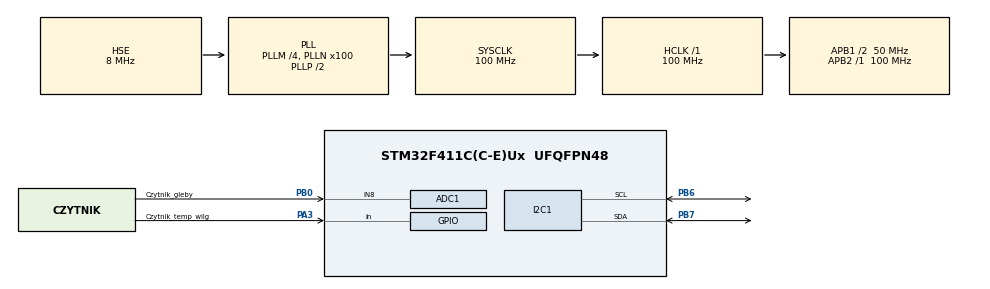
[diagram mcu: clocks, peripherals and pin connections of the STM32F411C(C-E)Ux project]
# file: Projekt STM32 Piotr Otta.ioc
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Mcu.Family=STM32F4
RCC.PLLSourceVirtual=RCC_PLLSOURCE_HSE
TIM10.Prescaler=72-1
RCC.CortexFreq_Value=100000000
ADC1.Channel-4\#ChannelRegularConversion=ADC_CHANNEL_8
PH1\ -\ OSC_OUT.Mode=HSE-External-Oscillator
PB0.GPIO_Label=Czytnik_gleby
RCC.APB1CLKDivider=RCC_HCLK_DIV2
RCC.SYSCLKSource=RCC_SYSCLKSOURCE_PLLCLK
ProjectManager.StackSize=0x400
PH0\ -\ OSC_IN.Mode=HSE-External-Oscillator
PH0\ -\ OSC_IN.Signal=RCC_OSC_IN
ProjectManager.TargetToolchain=TrueSTUDIO
RCC.HCLKFreq_Value=100000000
RCC.APB2TimFreq_Value=100000000
PB6.Signal=I2C1_SCL
VP_TIM10_VS_ClockSourceINT.Mode=Enable_Timer
PB6.Mode=I2C
RCC.LSE_VALUE=32768
RCC.AHBFreq_Value=100000000
RCC.HSE_VALUE=8000000
PH1\ -\ OSC_OUT.Signal=RCC_OSC_OUT
board=custom
RCC.VCOOutputFreq_Value=200000000
TIM10.Period=0xffff-1
ADC1.SamplingTime-4\#ChannelRegularConversion=ADC_SAMPLETIME_480CYCLES
RCC.APB2Freq_Value=100000000
SH.ADCx_IN8.0=ADC1_IN8,IN8
PB7.Signal=I2C1_SDA
Mcu.Name=STM32F411C(C-E)Ux
RCC.48MHZClocksFreq_Value=50000000
RCC.SYSCLKFreq_VALUE=100000000
Mcu.Package=UFQFPN48
ADC1.master=1
PB7.Mode=I2C
ProjectManager.HeapSize=0x200
RCC.HSI_VALUE=16000000
NVIC.PriorityGroup=NVIC_PRIORITYGROUP_4
ADC1.NbrOfConversionFlag=1
RCC.PLLM=4
RCC.PLLN=100
RCC.APB1TimFreq_Value=100000000
RCC.APB1Freq_Value=50000000
PB0.Signal=ADCx_IN8
ADC1.Rank-4\#ChannelRegularConversion=1
PA3.GPIO_Label=Czytnik_temp_wilg
PA3.Signal=GPIO_Input

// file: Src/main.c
/* USER CODE BEGIN Header */
/**
  ******************************************************************************
  * @file           : main.c
  * @brief          : Main program body
  ******************************************************************************
  * @attention
  *
  * <h2><center>&copy; Copyright (c) 2020 STMicroelectronics.
  * All rights reserved.</center></h2>
  *
  * This software component is licensed by ST under BSD 3-Clause license,
  * the "License"; You may not use this file except in compliance with the
  * License. You may obtain a copy of the License at:
  *                        opensource.org/licenses/BSD-3-Clause
  *
  ******************************************************************************
  */
/* USER CODE END Header */

#include "main.h"
#include "adc.h"
#include "i2c.h"
#include "tim.h"
#include "gpio.h"

/* USER CODE BEGIN Includes */
#include "i2c-lcd.h"
#include "stdio.h"
/* USER CODE END Includes */

void SystemClock_Config(void);
void MX_TIM10_Init(void);

/* USER CODE BEGIN 0 */
//do dht22
void delay (uint16_t time);
void Display_Temp (float Temp);
void Display_Rh (float Rh);
uint8_t Rh_byte1, Rh_byte2, Temp_byte1, Temp_byte2;
uint16_t SUM, RH, TEMP;
float Temperature = 0;
float Humidity = 0;
uint8_t Presence = 0;
void Set_Pin_Output (GPIO_TypeDef *GPIOx, uint16_t GPIO_Pin);
void Set_Pin_Input (GPIO_TypeDef *GPIOx, uint16_t GPIO_Pin);
#define DHT22_PORT Czytnik_temp_wilg_GPIO_Port
#define DHT22_PIN Czytnik_temp_wilg_Pin
void DHT22_Start (void);
uint8_t DHT22_Check_Response (void);
uint8_t DHT22_Read (void);
//do analogowego
uint16_t PomiarADC;
float wilg_gleby=0;
float Vsense=0;
const float V25 = 0.62;
const float Avg_slope = 0.030;
const float SupplyVoltage = 3.0;
const float ADCResolution = 4096;
void HAL_ADC_ConvCpltCallback(ADC_HandleTypeDef* hadc);
/* USER CODE END 0 */

/*
	Vsense = (SupplyVoltage*PomiarADC)/(ADCResolution-1); //przeliczenie wartosci zmierzonej na napieciu
	wilg_gleby = ((Vsense-V25)/Avg_slope)+25; //obliczenie wilgotnosci
*/
int main(void)
{

  /* MCU Configuration--------------------------------------------------------*/

  /* Reset of all peripherals, Initializes the Flash interface and the Systick. */
  HAL_Init();

  /* Configure the system clock */
  SystemClock_Config();

  /* Initialize all configured peripherals */
  MX_GPIO_Init();
  MX_I2C1_Init();
  MX_ADC1_Init();
  MX_TIM10_Init();
  /* USER CODE BEGIN 2 */
  HAL_TIM_Base_Start(&htim10);
  lcd_init();
  lcd_send_cmd (0x80|0x00);
  lcd_send_string("Wykonane przez:");
  lcd_send_cmd (0x80|0x40);
  lcd_send_string("Piotr Otta 18902");
  HAL_Delay(2000);
  lcd_clear ();
  //bez deklaracji zmienny, czujnik nie rusza
  Presence=0;
  Rh_byte1=0;
  Rh_byte2=0;
  Temp_byte1=0;
  Temp_byte2=0;
  HAL_ADC_Start(&hadc1); //uruchomienie przetwornika analogowo-cyfrowego
  /* USER CODE END 2 */

  /* Infinite loop */
  while (1)
  {
	  lcd_send_cmd (0x80|0x00);
	  lcd_send_string("Temperatura przy");
	  lcd_send_cmd (0x80|0x40);
	  lcd_send_string("pojemniku gleby");
	  HAL_Delay(1400);
	  lcd_clear ();
	  DHT22_Start();
	  Presence = DHT22_Check_Response();
	  Rh_byte1 = DHT22_Read ();
	  Rh_byte2 = DHT22_Read ();
	  Temp_byte1 = DHT22_Read ();
	  Temp_byte2 = DHT22_Read ();
	  SUM = DHT22_Read();
	  TEMP = ((Temp_byte1<<8)|Temp_byte2);
	  RH = ((Rh_byte1<<8)|Rh_byte2);

	  Temperature = (float) (TEMP/10.0);
	  Humidity = (float) (RH/10.0);
	  Display_Temp(Temperature);
	  Display_Rh(Humidity);
	  HAL_Delay(3000);
	  lcd_clear ();
	  //analogowy odczyt
	  lcd_send_cmd (0x80|0x00);
	  lcd_send_string("Wilgotnosc gleby");
	  lcd_send_cmd (0x80|0x40);
	  lcd_send_string("  w pojemniku   ");
	  HAL_Delay(1400);
	  lcd_clear ();
	  HAL_ADC_ConvCpltCallback(&hadc1);
	  HAL_Delay(3000);
  }
}

void delay (uint16_t time)
{
	/* change your code here for the delay in microseconds */
	//time = time *1.5;
	__HAL_TIM_SET_COUNTER(&htim10, 0);
	while ((__HAL_TIM_GET_COUNTER(&htim10))<time);
}

void Display_Temp (float Temp)
{
	char str[16] = {0};
	lcd_send_cmd (0x80|0x00);
	int zmienna = Temp;
	sprintf (str, "TEMP: %iC", zmienna);
	lcd_send_string(str);
}

void Display_Rh (float Rh)
{
	char str[16] = {0};
	lcd_send_cmd (0x80|0x40);
	int zmienna = Rh;
	sprintf (str, "RH: %i%%", zmienna);
	lcd_send_string(str);
}

void Set_Pin_Output (GPIO_TypeDef *GPIOx, uint16_t GPIO_Pin)
{
	GPIO_InitTypeDef GPIO_InitStruct = {0};
	GPIO_InitStruct.Pin = GPIO_Pin;
	GPIO_InitStruct.Mode = GPIO_MODE_OUTPUT_PP;
	GPIO_InitStruct.Speed = GPIO_SPEED_FREQ_LOW;
	HAL_GPIO_Init(GPIOx, &GPIO_InitStruct);
}

void Set_Pin_Input (GPIO_TypeDef *GPIOx, uint16_t GPIO_Pin)
{
	GPIO_InitTypeDef GPIO_InitStruct = {0};
	GPIO_InitStruct.Pin = GPIO_Pin;
	GPIO_InitStruct.Mode = GPIO_MODE_INPUT;
	GPIO_InitStruct.Pull = GPIO_PULLUP;
	HAL_GPIO_Init(GPIOx, &GPIO_InitStruct);
}

void DHT22_Start (void)
{
	Set_Pin_Output(DHT22_PORT, DHT22_PIN); // set the pin as output
	HAL_GPIO_WritePin (DHT22_PORT, DHT22_PIN, 0);   // pull the pin low
	delay(1200);   // wait for > 1ms

	HAL_GPIO_WritePin (DHT22_PORT, DHT22_PIN, 1);   // pull the pin high
	delay (20);   // wait for 30us

	Set_Pin_Input(DHT22_PORT, DHT22_PIN);   // set as input
}

uint8_t DHT22_Check_Response (void)
{
	Set_Pin_Input(DHT22_PORT, DHT22_PIN);   // set as input
	uint8_t Response = 0;
	delay (40);  // wait for 40us
	if (!(HAL_GPIO_ReadPin (DHT22_PORT, DHT22_PIN))) // if the pin is low
	{
		delay (80);   // wait for 80us

		if ((HAL_GPIO_ReadPin (DHT22_PORT, DHT22_PIN))) Response = 1;  // if the pin is high, response is ok
		else Response = -1;
	}

	while ((HAL_GPIO_ReadPin (DHT22_PORT, DHT22_PIN)));   // wait for the pin to go low
	return Response;
}

uint8_t DHT22_Read (void)
{
	uint8_t i=0,j;
	for (j=0;j<8;j++)
	{
		while (!(HAL_GPIO_ReadPin (DHT22_PORT, DHT22_PIN)));   // wait for the pin to go high
		delay (40);   // wait for 40 us

		if (!(HAL_GPIO_ReadPin (DHT22_PORT, DHT22_PIN)))   // if the pin is low
		{
			i&= ~(1<<(7-j));   // write 0
		}
		else i|= (1<<(7-j));  // if the pin is high, write 1
		while ((HAL_GPIO_ReadPin (DHT22_PORT, DHT22_PIN)));  // wait for the pin to go low
	}

	return i;
}

void HAL_ADC_ConvCpltCallback(ADC_HandleTypeDef* hadc)
{
	PomiarADC = HAL_ADC_GetValue(&hadc1); //pobieranie zmierzonej wartosci
	Vsense = (SupplyVoltage*PomiarADC)/(ADCResolution-1); //przeliczenie wartosci zmierzonej na napieciu
	wilg_gleby = ((Vsense-V25)/Avg_slope)+21; //obliczenie wilgotnosci
	char str[16] = {0};
    lcd_send_cmd (0x80|0x00);
	int zmienna = wilg_gleby;
	sprintf (str, "Wilg: %i%%", zmienna);
	lcd_send_string(str);
	HAL_ADC_Start(&hadc1);
}

void MX_TIM10_Init(void)
{

  htim10.Instance = TIM10;
  htim10.Init.Prescaler = 72-1;
  htim10.Init.CounterMode = TIM_COUNTERMODE_UP;
  htim10.Init.Period = 0xffff-1;
  htim10.Init.ClockDivision = TIM_CLOCKDIVISION_DIV1;
  htim10.Init.AutoReloadPreload = TIM_AUTORELOAD_PRELOAD_DISABLE;
  if (HAL_TIM_Base_Init(&htim10) != HAL_OK)
  {
    Error_Handler();
  }

}

void SystemClock_Config(void)
{
  RCC_OscInitTypeDef RCC_OscInitStruct = {0};
  RCC_ClkInitTypeDef RCC_ClkInitStruct = {0};

  /** Configure the main internal regulator output voltage
  */
  __HAL_RCC_PWR_CLK_ENABLE();
  __HAL_PWR_VOLTAGESCALING_CONFIG(PWR_REGULATOR_VOLTAGE_SCALE1);
  /** Initializes the CPU, AHB and APB busses clocks
  */
  RCC_OscInitStruct.OscillatorType = RCC_OSCILLATORTYPE_HSE;
  RCC_OscInitStruct.HSEState = RCC_HSE_ON;
  RCC_OscInitStruct.PLL.PLLState = RCC_PLL_ON;
  RCC_OscInitStruct.PLL.PLLSource = RCC_PLLSOURCE_HSE;
  RCC_OscInitStruct.PLL.PLLM = 4;
  RCC_OscInitStruct.PLL.PLLN = 100;
  RCC_OscInitStruct.PLL.PLLP = RCC_PLLP_DIV2;
  RCC_OscInitStruct.PLL.PLLQ = 4;
  if (HAL_RCC_OscConfig(&RCC_OscInitStruct) != HAL_OK)
  {
    Error_Handler();
  }
  /** Initializes the CPU, AHB and APB busses clocks
  */
  RCC_ClkInitStruct.ClockType = RCC_CLOCKTYPE_HCLK|RCC_CLOCKTYPE_SYSCLK
                              |RCC_CLOCKTYPE_PCLK1|RCC_CLOCKTYPE_PCLK2;
  RCC_ClkInitStruct.SYSCLKSource = RCC_SYSCLKSOURCE_PLLCLK;
  RCC_ClkInitStruct.AHBCLKDivider = RCC_SYSCLK_DIV1;
  RCC_ClkInitStruct.APB1CLKDivider = RCC_HCLK_DIV2;
  RCC_ClkInitStruct.APB2CLKDivider = RCC_HCLK_DIV1;

  if (HAL_RCC_ClockConfig(&RCC_ClkInitStruct, FLASH_LATENCY_3) != HAL_OK)
  {
    Error_Handler();
  }
}

void Error_Handler(void)
{
}

/************************ (C) COPYRIGHT STMicroelectronics *****END OF FILE****/
